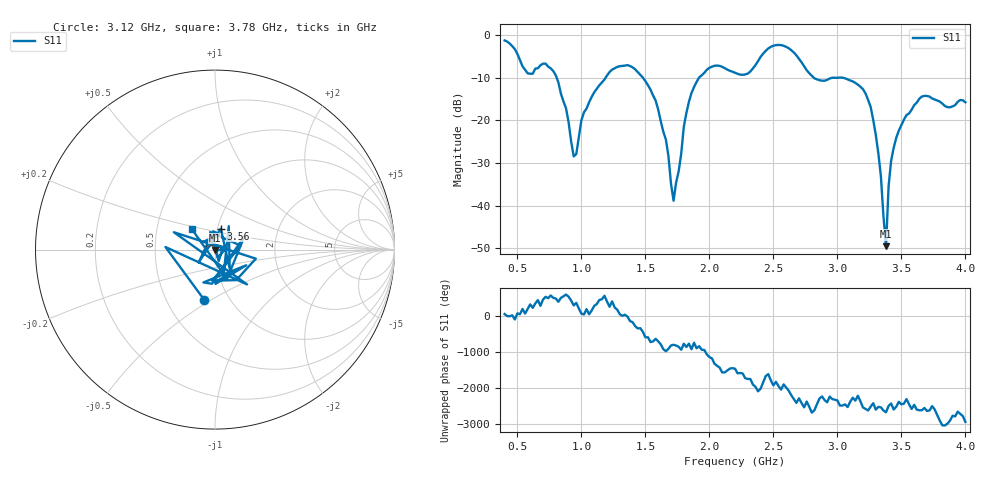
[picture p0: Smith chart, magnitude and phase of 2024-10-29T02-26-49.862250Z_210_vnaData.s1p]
!Created with skrf (http://scikit-rf.org).
# Hz S RI R 50.0
!freq ReS11 ImS11
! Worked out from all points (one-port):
!   181 points, 400 MHz to 4 GHz, reference 50 ohm
!   lowest |S11| = -49.5 dB at 3.38 GHz (marker M1), VSWR 1.01, Z = 49.7 - j0.195 ohm
!   |S11| at or under -10 dB: 807.3 MHz to 1.188 GHz (380.7 MHz wide, 38.2 % of centre); 1.482 GHz to 1.918 GHz (435.9 MHz wide, 25.6 % of centre); 3.048 GHz to end of sweep (the widest 3 of 4)
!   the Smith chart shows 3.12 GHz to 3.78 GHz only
!   S11 on the Smith chart (normalised r, x): 3.12 GHz: 0.76, -0.47; 3.56 GHz: 1.04, +0.25; 3.78 GHz: 0.75, +0.18
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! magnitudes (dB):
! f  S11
! 400 MHz  -1.2
! 580 MHz  -8.9
! 760 MHz  -7.7
! 860 MHz  -15.5
! 940 MHz  -28.4
! 1.08 GHz  -14.5
! 1.3 GHz  -7.3
! 1.42 GHz  -8.0
! 1.58 GHz  -15.3
! 1.66 GHz  -24.5
! 1.72 GHz  -38.8
! 1.76 GHz  -31.9
! 1.82 GHz  -18.3
! 1.92 GHz  -9.9
! 2.2 GHz  -8.8
! 2.5 GHz  -2.4
! 2.66 GHz  -4.0
! 2.82 GHz  -10.1
! 3.1 GHz  -10.6
! 3.12 GHz  -10.8
! 3.26 GHz  -16.8
! 3.32 GHz  -27.7
! 3.38 GHz  -49.5
! 3.4 GHz  -35.4
! 3.42 GHz  -29.4
! 3.56 GHz  -18.3
! 3.78 GHz  -15.3
! 4 GHz  -15.7
